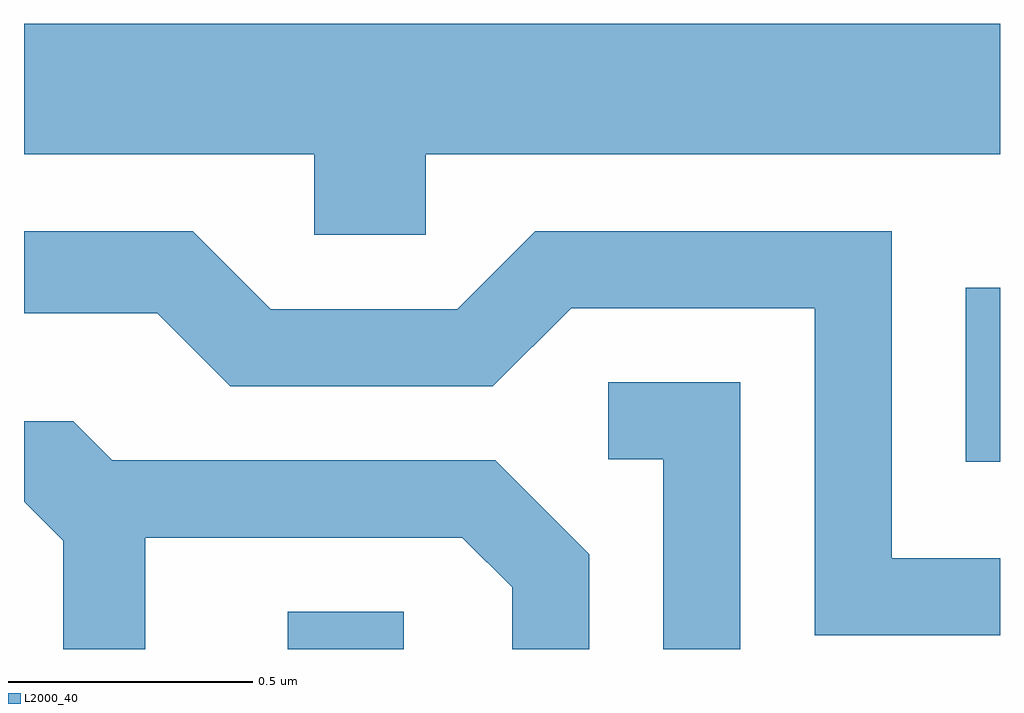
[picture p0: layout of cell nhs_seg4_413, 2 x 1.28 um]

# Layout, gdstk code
import gdstk
lib = gdstk.Library(unit=1e-6, precision=1e-09)
def R(c, l, rs):  # rectangles x0, y0, x1, y1
    for r in rs: c.add(gdstk.rectangle(r[:2], r[2:], *l))
def P(c, l, *ps):  # polygons
    for p in ps: c.add(gdstk.Polygon(p, *l))
L2000_40 = (2000, 40)

nhs_seg4_413 = lib.new_cell('nhs_seg4_413')
R(nhs_seg4_413, L2000_40, [(189.151,1255.982,189.389,1256.059), (190.541,1256.366,190.611,1256.723)])
P(nhs_seg4_413, L2000_40, [(189.434,1256.996),(190.611,1256.996),(190.611,1257.264),(188.611,1257.264),(188.611,1256.996),(189.206,1256.996),(189.206,1256.831),(189.434,1256.831)],
  [(190.611,1256.169),(190.389,1256.169),(190.389,1256.839),(189.659,1256.839),(189.499,1256.679),(189.117,1256.679),(188.957,1256.839),(188.611,1256.839),(188.611,1256.671),(188.884,1256.671),(189.034,1256.521),(189.572,1256.521),(189.732,1256.681),(190.231,1256.681),(190.231,1256.011),(190.611,1256.011)],
  [(190.079,1256.529),(189.808,1256.529),(189.808,1256.371),(189.921,1256.371),(189.921,1255.982),(190.079,1255.982)],
  [(188.859,1256.211),(189.509,1256.211),(189.611,1256.109),(189.611,1255.982),(189.769,1255.982),(189.769,1256.177),(189.577,1256.369),(188.792,1256.369),(188.712,1256.449),(188.611,1256.449),(188.611,1256.284),(188.691,1256.204),(188.691,1255.982),(188.859,1255.982)])

lib.write_gds('nhs_seg4_413.gds')
